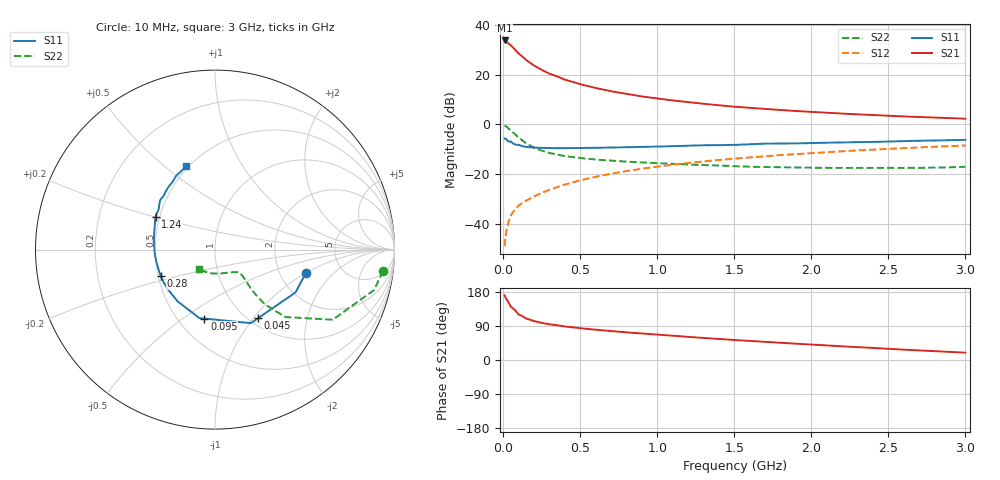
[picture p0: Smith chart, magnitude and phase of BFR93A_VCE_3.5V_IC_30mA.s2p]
! Infineon Technologies  Discrete & RF Semiconductors
! BFR93A
! VCE =  3.5 V,  IC =  30 mA
! Common Emitter S-Parameters:  Nov 2015
# GHz  S  MA  R  50
!  f  S11  S21  S12  S22
! GHz  MAG  ANG  MAG  ANG  MAG  ANG  MAG  ANG
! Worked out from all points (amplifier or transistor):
!   180 points, 10 MHz to 3 GHz, reference 50 ohm
!   highest |S21| = 33.7 dB at 10 MHz (marker M1)
!   |S21| within 3 dB of that: start of sweep to 66.91 MHz
!   unconditionally stable (mu >= 1): 359.9 MHz to 2.85 GHz
!   at 160 MHz: K = 0.79, MSG = 27.8 dB, |S12| = -30.3 dB
!   at 1.22 GHz: K = 1.07, MAG = 10.4 dB, |S12| = -15.4 dB
!   at 3 GHz: K = 0.99, MSG = 5.4 dB, |S12| = -8.4 dB
!   S11 on the Smith chart (normalised r, x): 10 MHz: 2.80, -0.99; 45 MHz: 1.10, -1.06; 95 MHz: 0.67, -0.61; 280 MHz: 0.52, -0.17; 1.24 GHz: 0.48, +0.20; 3 GHz: 0.49, +0.59
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0.01  0.523 -14.2  48.43 170.5  0.0036 83.2  0.9444 -7.3
0.02  0.5082 -28.0  46.72 162.0  0.0069 77.9  0.9141 -14.3
0.045  0.4513 -57.7  39.68 144.9  0.0136 69.6  0.7835 -27.6
0.05  0.456 -64.0  38.79 140.8  0.0149 68.8  0.7635 -30.8
0.095  0.3887 -98.7  27.72 123.1  0.0225 63.4  0.5627 -42.1
0.1  0.3913 -102.9  26.73 120.3  0.0234 63.0  0.5423 -43.8
0.15  0.3559 -125.6  19.49 109.3  0.0295 63.8  0.4145 -47.6
0.2  0.3433 -140.0  15.2 102.7  0.0357 65.8  0.3419 -48.0
0.24  0.3389 -148.2  12.95 98.9  0.0408 66.9  0.3058 -47.5
0.28  0.336 -154.2  11.23 95.8  0.0459 68.0  0.2792 -46.8
0.3  0.335 -156.8  10.46 94.2  0.0485 68.5  0.2675 -46.3
0.4  0.3336 -168.0  7.929 88.5  0.0618 69.9  0.2308 -44.6
0.52  0.3371 -177.9  6.209 83.1  0.0778 70.3  0.2086 -43.5
0.6  0.339 177.1  5.386 79.9  0.0888 70.1  0.197 -43.4
0.7  0.3436 172.1  4.637 76.3  0.1023 69.7  0.1876 -43.9
0.88  0.3522 164.1  3.732 70.6  0.126 68.3  0.1738 -46.2
1.02  0.3609 158.7  3.249 66.3  0.1447 67.0  0.1663 -48.8
1.24  0.3773 151.4  2.716 60.0  0.1732 64.4  0.1552 -54.6
1.52  0.3903 143.1  2.244 52.3  0.2082 61.1  0.1442 -63.3
2.02  0.4242 130.6  1.768 40.3  0.2682 54.9  0.1349 -82.1
2.52  0.4561 119.6  1.484 29.2  0.3255 48.4  0.1336 -103.8
3  0.4903 109.1  1.303 19.4  0.3782 41.9  0.1409 -128.7
